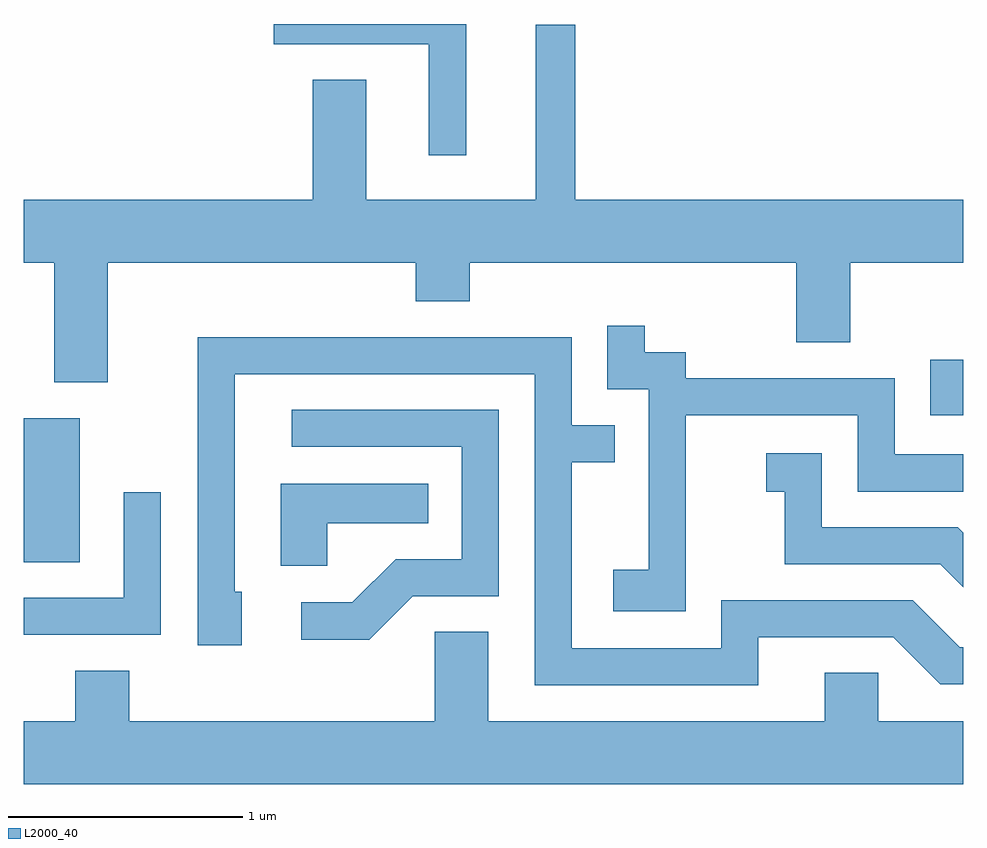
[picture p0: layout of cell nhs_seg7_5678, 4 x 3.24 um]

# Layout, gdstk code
import gdstk
lib = gdstk.Library(unit=1e-6, precision=1e-09)
def R(c, l, rs):  # rectangles x0, y0, x1, y1
    for r in rs: c.add(gdstk.rectangle(r[:2], r[2:], *l))
def P(c, l, *ps):  # polygons
    for p in ps: c.add(gdstk.Polygon(p, *l))
L2000_40 = (2000, 40)

nhs_seg7_5678 = lib.new_cell('nhs_seg7_5678')
R(nhs_seg7_5678, L2000_40, [(359.611,1681.961,359.849,1682.574), (363.471,1682.586,363.611,1682.823)])
P(nhs_seg7_5678, L2000_40, [(361.494,1684.252),(360.676,1684.252),(360.676,1684.166),(361.336,1684.166),(361.336,1683.693),(361.494,1683.693)],
  [(359.969,1683.236),(361.281,1683.236),(361.281,1683.071),(361.509,1683.071),(361.509,1683.236),(362.901,1683.236),(362.901,1682.896),(363.129,1682.896),(363.129,1683.236),(363.611,1683.236),(363.611,1683.504),(361.959,1683.504),(361.959,1684.248),(361.791,1684.248),(361.791,1683.504),(361.069,1683.504),(361.069,1684.014),(360.841,1684.014),(360.841,1683.504),(359.611,1683.504),(359.611,1683.236),(359.741,1683.236),(359.741,1682.726),(359.969,1682.726)],
  [(362.429,1682.586),(363.161,1682.586),(363.161,1682.261),(363.611,1682.261),(363.611,1682.419),(363.319,1682.419),(363.319,1682.744),(362.429,1682.744),(362.429,1682.854),(362.254,1682.854),(362.254,1682.968),(362.096,1682.968),(362.096,1682.696),(362.271,1682.696),(362.271,1681.929),(362.121,1681.929),(362.121,1681.751),(362.429,1681.751)],
  [(362.739,1681.641),(363.314,1681.641),(363.514,1681.441),(363.611,1681.441),(363.611,1681.599),(363.597,1681.599),(363.397,1681.799),(362.581,1681.799),(362.581,1681.594),(361.944,1681.594),(361.944,1682.386),(362.128,1682.386),(362.128,1682.544),(361.944,1682.544),(361.944,1682.919),(360.351,1682.919),(360.351,1681.606),(360.539,1681.606),(360.539,1681.834),(360.509,1681.834),(360.509,1682.761),(361.786,1682.761),(361.786,1681.436),(362.739,1681.436)],
  [(361.267,1681.816),(361.634,1681.816),(361.634,1682.609),(360.753,1682.609),(360.753,1682.451),(361.476,1682.451),(361.476,1681.974),(361.194,1681.974),(361.009,1681.789),(360.793,1681.789),(360.793,1681.631),(361.082,1681.631)],
  [(363.611,1682.085),(363.587,1682.109),(363.009,1682.109),(363.009,1682.424),(362.773,1682.424),(362.773,1682.261),(362.851,1682.261),(362.851,1681.951),(363.514,1681.951),(363.611,1681.854)],
  [(360.904,1682.126),(361.333,1682.126),(361.333,1682.294),(360.706,1682.294),(360.706,1681.946),(360.904,1681.946)],
  [(360.194,1682.258),(360.036,1682.258),(360.036,1681.809),(359.611,1681.809),(359.611,1681.651),(360.194,1681.651)],
  [(363.611,1681.284),(363.249,1681.284),(363.249,1681.489),(363.021,1681.489),(363.021,1681.284),(361.589,1681.284),(361.589,1681.664),(361.361,1681.664),(361.361,1681.284),(360.059,1681.284),(360.059,1681.499),(359.831,1681.499),(359.831,1681.284),(359.611,1681.284),(359.611,1681.016),(363.611,1681.016)])

lib.write_gds('nhs_seg7_5678.gds')
